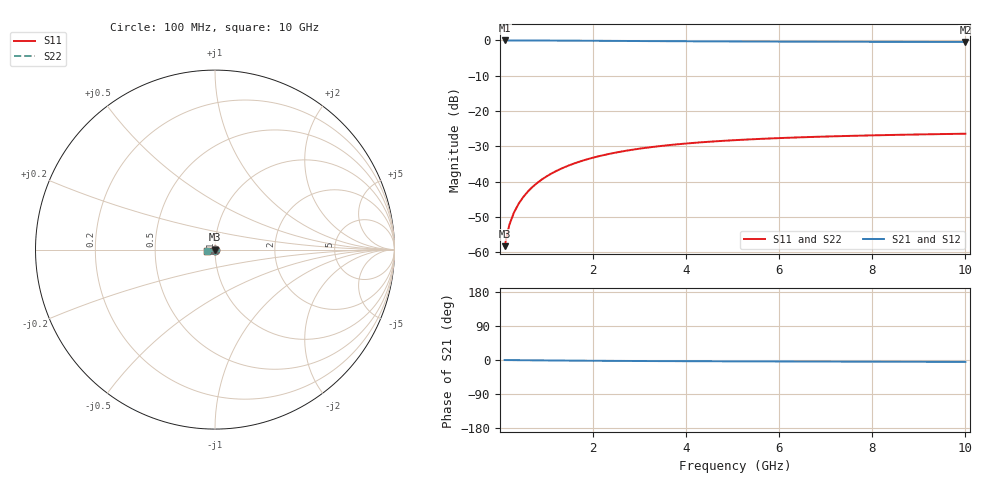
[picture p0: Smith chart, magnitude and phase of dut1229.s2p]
! Touchstone file exported from HFSS 2024.1.0
!  File:  C:/UserFiles/LocalFiles/RDL_TSV_Batchsim/temp_TSV1_1229_1780250214.aedt
!  Generated:  02:03:39 AM Jun  1, 2026
!  Design:  TSV1
!  Project:  temp_TSV1_1229_1780250214
!  Setup:  Setup1
!  Solution:  Sweep
! Variables:
!  dtsv = 9.64um
!  hbump = 3um
!  htsv = 79.63um
!  lrdl = 252.1521522um
!  p = 40
!  p1 = 41.94um
!  t = 500um
!  trdl = 3um
!  wrdl = 24.89489489um
# GHz S MA R 50.000000
! Terminal data exported
! Port[1] = TSV22_T1
! Port[2] = TSV22_T2
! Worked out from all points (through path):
!   100 points, 100 MHz to 10 GHz, reference 50 ohm
!   highest |S21| = 0.00 dB at 100 MHz (marker M1); lowest = -0.4 dB at 10 GHz (marker M2)
!   lowest |S11| = -58.3 dB at 100 MHz (marker M3), VSWR 1.00, Z = 50 - j0.121 ohm
!   |S11| at or under -10 dB: start of sweep to end of sweep
!   |S22| runs from -58.3 to -26.4 dB; largest |S21 - S12| = 4.4e-15
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0.1  0.00122 -84.1  0.9998 -0.1  0.9998 -0.1  0.00122 -84.1
! Gamma 0 0 0 0
! Port Impedance 50 0 50 0
0.2  0.002429 -89.1  0.9997 -0.2  0.9997 -0.2  0.002429 -89.1
0.3  0.003641 -91.8  0.9995 -0.4  0.9995 -0.4  0.003641 -91.8
0.4  0.004851 -94.0  0.9993 -0.5  0.9993 -0.5  0.004851 -94.0
0.5  0.006054 -95.9  0.999 -0.6  0.999 -0.6  0.006054 -95.9
0.6  0.007247 -97.7  0.9986 -0.7  0.9986 -0.7  0.007247 -97.7
0.7  0.008426 -99.4  0.9982 -0.8  0.9982 -0.8  0.008426 -99.4
0.8  0.00959 -101.1  0.9977 -0.9  0.9977 -0.9  0.00959 -101.1
0.9  0.01074 -102.7  0.9972 -1.0  0.9972 -1.0  0.01074 -102.7
1.1  0.01297 -105.8  0.996 -1.2  0.996 -1.2  0.01297 -105.8
1.4  0.01616 -110.3  0.994 -1.5  0.994 -1.5  0.01616 -110.3
1.6  0.01816 -113.1  0.9924 -1.7  0.9924 -1.7  0.01816 -113.1
1.8  0.02006 -115.8  0.9909 -1.9  0.9909 -1.9  0.02006 -115.8
2.1  0.02272 -119.6  0.9884 -2.1  0.9884 -2.1  0.02272 -119.6
2.5  0.0259 -124.4  0.985 -2.4  0.985 -2.4  0.0259 -124.4
2.9  0.02869 -128.7  0.9817 -2.6  0.9817 -2.6  0.02869 -128.7
3.4  0.0317 -133.7  0.9778 -2.9  0.9778 -2.9  0.0317 -133.6
4.2  0.03557 -140.5  0.9722 -3.2  0.9722 -3.2  0.03557 -140.5
5.1  0.03888 -146.9  0.9671 -3.6  0.9671 -3.6  0.03888 -146.9
6.7  0.04298 -156.0  0.9602 -4.1  0.9602 -4.1  0.04298 -156.0
8.4  0.04585 -163.5  0.9552 -4.6  0.9552 -4.6  0.04585 -163.5
10  0.04776 -169.3  0.9518 -5.1  0.9518 -5.1  0.04777 -169.3
